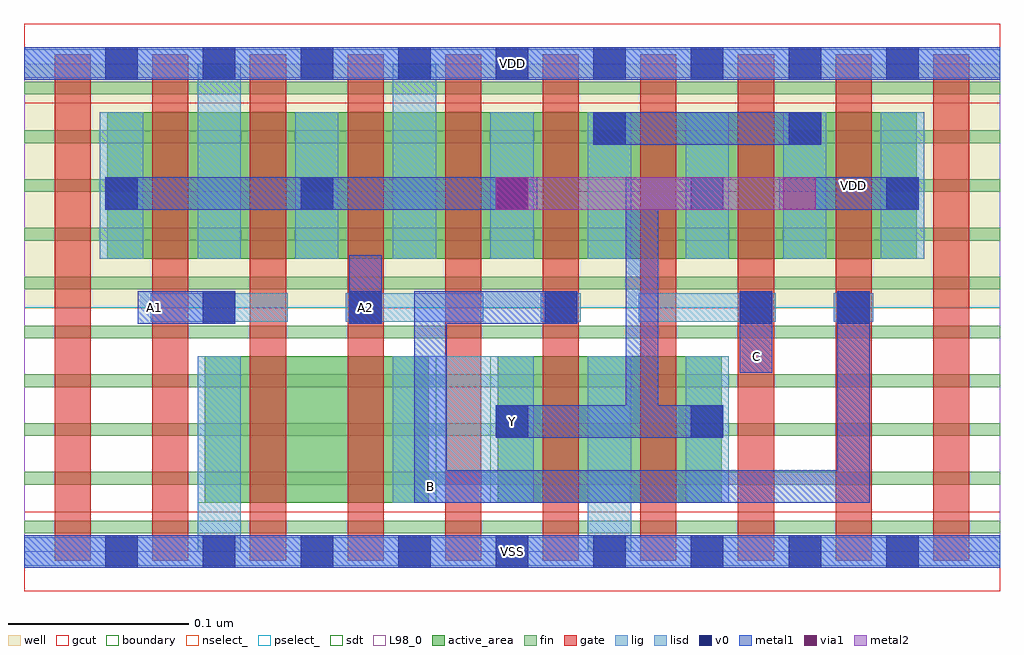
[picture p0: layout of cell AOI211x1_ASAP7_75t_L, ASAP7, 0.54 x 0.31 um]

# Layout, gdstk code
import gdstk
lib = gdstk.Library(unit=1e-6, precision=2.5e-10)
def R(c, l, rs):  # rectangles x0, y0, x1, y1
    for r in rs: c.add(gdstk.rectangle(r[:2], r[2:], *l))
def A(c, l, x, y, w, h, nx, ny, dx, dy):  # array of equal rectangles
    R(c, l, [(x+i*dx, y+j*dy, x+i*dx+w, y+j*dy+h) for i in range(nx) for j in range(ny)])
def P(c, l, *ps):  # polygons
    for p in ps: c.add(gdstk.Polygon(p, *l))
well = (1, 0)
fin = (2, 0)
gate = (7, 0)
gcut = (10, 0)
active_area = (11, 0)
nselect_ = (12, 0)
pselect_ = (13, 0)
lig = (16, 0)
lisd = (17, 0)
v0 = (18, 0)
metal1 = (19, 0)
metal2 = (20, 0)
via1 = (21, 0)
sdt = (88, 0)
L98_0 = (98, 0)
boundary = (100, 0)

aoi211x1_asap7_75t_l = lib.new_cell('AOI211x1_ASAP7_75t_L')
R(aoi211x1_asap7_75t_l, well, [(0,0.135,0.54,0.27)])
A(aoi211x1_asap7_75t_l, fin, 0, 0.01, 0.54, 0.007, 1, 10, 0, 0.027)
A(aoi211x1_asap7_75t_l, gate, 0.017, -0.005, 0.02, 0.28, 10, 1, 0.054, 0)
R(aoi211x1_asap7_75t_l, gcut, [(0,-0.022,0.54,0.022), (0,0.248,0.54,0.292)])
R(aoi211x1_asap7_75t_l, active_area, [(0.1,0.027,0.224,0.108), (0.262,0.027,0.386,0.108), (0.046,0.162,0.494,0.243)])
R(aoi211x1_asap7_75t_l, nselect_, [(0,0,0.54,0.135)])
R(aoi211x1_asap7_75t_l, pselect_, [(0,0.135,0.54,0.27)])
R(aoi211x1_asap7_75t_l, lig, [(0,-0.008,0.54,0.008), (0.07,0.127,0.146,0.143), (0.178,0.127,0.254,0.143), (0.286,0.127,0.308,0.143), (0.34,0.127,0.416,0.143), (0.448,0.127,0.47,0.143), (0,0.262,0.54,0.278)])
A(aoi211x1_asap7_75t_l, lisd, 0.042, 0.162, 0.024, 0.081, 3, 1, 0.108, 0)
A(aoi211x1_asap7_75t_l, lisd, 0.312, 0.162, 0.024, 0.081, 4, 1, 0.054, 0)
R(aoi211x1_asap7_75t_l, lisd, [(0.096,0,0.12,0.108), (0.312,0,0.336,0.108), (0.204,0.027,0.282,0.108), (0.366,0.027,0.39,0.108), (0.096,0.162,0.12,0.27), (0.204,0.162,0.228,0.27)])
A(aoi211x1_asap7_75t_l, v0, 0.045, -0.009, 0.018, 0.018, 9, 2, 0.054, 0.27)
A(aoi211x1_asap7_75t_l, v0, 0.18, 0.126, 0.018, 0.018, 3, 1, 0.108, 0)
A(aoi211x1_asap7_75t_l, v0, 0.045, 0.189, 0.018, 0.018, 5, 1, 0.108, 0)
R(aoi211x1_asap7_75t_l, v0, [(0.261,0.063,0.279,0.081), (0.369,0.063,0.387,0.081), (0.099,0.126,0.117,0.144), (0.45,0.126,0.468,0.144), (0.315,0.225,0.333,0.243), (0.423,0.225,0.441,0.243)])
R(aoi211x1_asap7_75t_l, metal1, [(0,-0.009,0.54,0.009), (0.396,0.099,0.414,0.144), (0.063,0.126,0.117,0.144), (0.18,0.126,0.198,0.164), (0.045,0.189,0.284,0.207), (0.418,0.189,0.495,0.207), (0.315,0.225,0.441,0.243), (0,0.261,0.54,0.279)])
P(aoi211x1_asap7_75t_l, metal1, [(0.387,0.081),(0.351,0.081),(0.351,0.189),(0.387,0.189),(0.387,0.207),(0.333,0.207),(0.333,0.081),(0.261,0.081),(0.261,0.063),(0.387,0.063)],
  [(0.468,0.144),(0.45,0.144),(0.45,0.045),(0.234,0.045),(0.234,0.126),(0.306,0.126),(0.306,0.144),(0.216,0.144),(0.216,0.027),(0.468,0.027)])
R(aoi211x1_asap7_75t_l, metal2, [(0.261,0.189,0.438,0.207)])
R(aoi211x1_asap7_75t_l, via1, [(0.261,0.189,0.279,0.207), (0.42,0.189,0.438,0.207)])
A(aoi211x1_asap7_75t_l, sdt, 0.204, 0.027, 0.024, 0.081, 4, 1, 0.054, 0)
A(aoi211x1_asap7_75t_l, sdt, 0.042, 0.162, 0.024, 0.081, 9, 1, 0.054, 0)
R(aoi211x1_asap7_75t_l, sdt, [(0.096,0.027,0.12,0.108)])
R(aoi211x1_asap7_75t_l, L98_0, [(0,0,0.54,0.27)])
R(aoi211x1_asap7_75t_l, boundary, [(0,0,0.54,0.27)])
aoi211x1_asap7_75t_l.add(gdstk.Label('VDD', (0.27,0.27), layer=19, texttype=251))
aoi211x1_asap7_75t_l.add(gdstk.Label('VSS', (0.27,0), layer=19, texttype=251))
aoi211x1_asap7_75t_l.add(gdstk.Label('A1', (0.072,0.135), layer=19, texttype=251))
aoi211x1_asap7_75t_l.add(gdstk.Label('A2', (0.189,0.135), layer=19, texttype=251))
aoi211x1_asap7_75t_l.add(gdstk.Label('B', (0.225,0.036), layer=19, texttype=251))
aoi211x1_asap7_75t_l.add(gdstk.Label('C', (0.405,0.108), layer=19, texttype=251))
aoi211x1_asap7_75t_l.add(gdstk.Label('Y', (0.27,0.072), layer=19, texttype=251))
aoi211x1_asap7_75t_l.add(gdstk.Label('VDD', (0.459,0.2025), layer=1, texttype=251))
aoi211x1_asap7_75t_l.add(gdstk.Label('VSS', (0.621,0.2025), layer=3, texttype=251))

lib.write_gds('AOI211x1_ASAP7_75t_L.gds')
